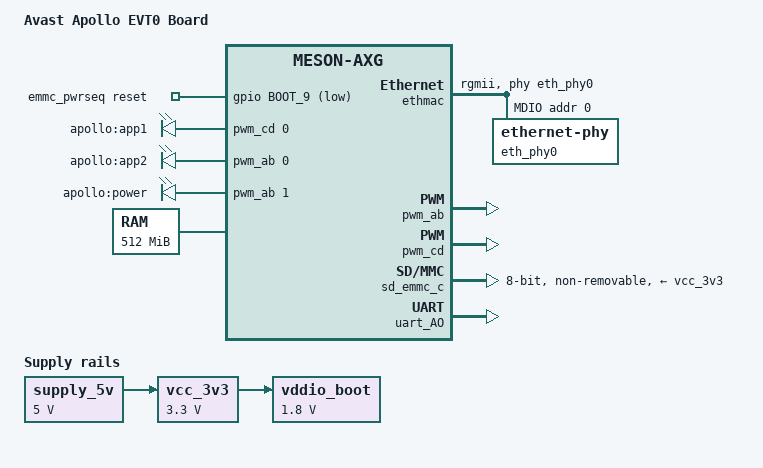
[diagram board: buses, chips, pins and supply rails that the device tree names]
// SPDX-License-Identifier: (GPL-2.0+ OR MIT)
/*
 * Copyright (c) 2018 Baylibre SAS. All rights reserved.
 */

/dts-v1/;

#include "meson-axg.dtsi"

/ {
	compatible = "avast,apollo-evt0", "amlogic,a113d", "amlogic,meson-axg";
	model = "Avast Apollo EVT0 Board";

	aliases {
		serial0 = &uart_AO;
		ethernet0 = &ethmac;
	};

	chosen {
		stdout-path = "serial0:115200n8";
	};

	emmc_pwrseq: emmc-pwrseq {
		compatible = "mmc-pwrseq-emmc";
		reset-gpios = <&gpio BOOT_9 GPIO_ACTIVE_LOW>;
	};

	leds {
		compatible = "pwm-leds";

		app1 {
			label = "apollo:app1";
			pwms = <&pwm_cd 0 7812500 0>;
			max-brightness = <255>;
		};

		app2 {
			label = "apollo:app2";
			pwms = <&pwm_ab 0 7812500 0>;
			max-brightness = <255>;
		};

		power {
			label = "apollo:power";
			pwms = <&pwm_ab 1 7812500 0>;
			max-brightness = <255>;
			linux,default-trigger = "default-on";
		};
	};

	memory@0 {
		device_type = "memory";
		reg = <0x0 0x0 0x0 0x20000000>; /* 512MB */
	};

	supply_5v: regulator-supply_5v {
		compatible = "regulator-fixed";
		regulator-name = "5V";
		regulator-min-microvolt = <5000000>;
		regulator-max-microvolt = <5000000>;
		regulator-always-on;
	};

	vcc_3v3: regulator-vcc_3v3 {
		compatible = "regulator-fixed";
		regulator-name = "VCC_3V3";
		regulator-min-microvolt = <3300000>;
		regulator-max-microvolt = <3300000>;
		vin-supply = <&supply_5v>;
		regulator-always-on;
	};

	vddio_boot: regulator-vddio_boot {
		compatible = "regulator-fixed";
		regulator-name = "VDDIO_BOOT";
		regulator-min-microvolt = <1800000>;
		regulator-max-microvolt = <1800000>;
		vin-supply = <&vcc_3v3>;
		regulator-always-on;
	};
};

&ethmac {
	status = "okay";
	pinctrl-0 = <&eth_rgmii_y_pins>;
	pinctrl-names = "default";
	phy-handle = <&eth_phy0>;
	phy-mode = "rgmii";

	mdio {
		compatible = "snps,dwmac-mdio";
		#address-cells = <1>;
		#size-cells = <0>;

		eth_phy0: ethernet-phy@0 {
			/* Realtek RTL8211F (0x001cc916) */
			reg = <0>;
			eee-broken-1000t;
		};
	};
};

&pwm_ab {
	status = "okay";
	pinctrl-0 = <&pwm_a_a_pins>, <&pwm_b_a_pins>;
	pinctrl-names = "default";
};

&pwm_cd {
	status = "okay";
	pinctrl-0 = <&pwm_c_a_pins>;
	pinctrl-names = "default";
};

&sd_emmc_c {
	status = "okay";
	pinctrl-0 = <&emmc_pins>;
	pinctrl-1 = <&emmc_clk_gate_pins>;
	pinctrl-names = "default", "clk-gate";

	bus-width = <8>;
	cap-mmc-highspeed;
	max-frequency = <200000000>;
	non-removable;
	disable-wp;
	mmc-ddr-1_8v;
	mmc-hs200-1_8v;

	mmc-pwrseq = <&emmc_pwrseq>;

	vmmc-supply = <&vcc_3v3>;
	vqmmc-supply = <&vddio_boot>;
};

&uart_AO {
	status = "okay";
	pinctrl-0 = <&uart_ao_a_pins>;
	pinctrl-names = "default";
};
